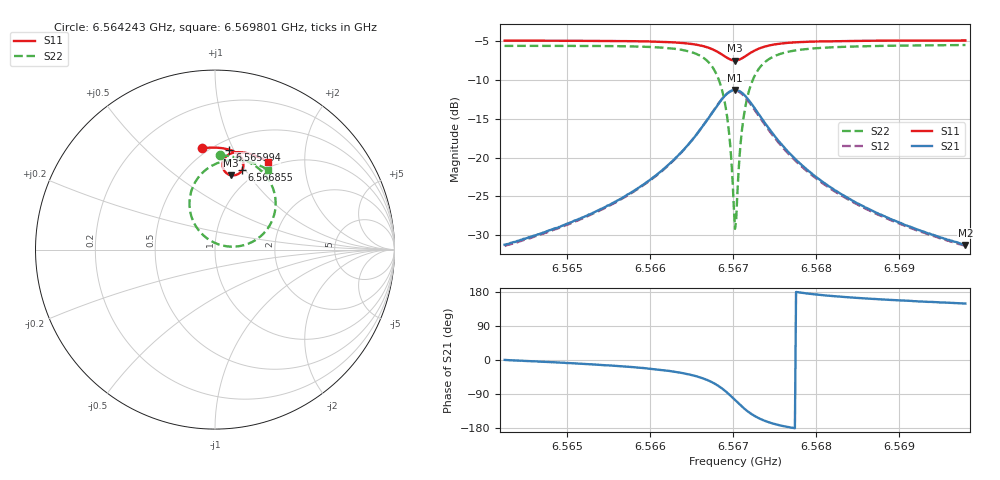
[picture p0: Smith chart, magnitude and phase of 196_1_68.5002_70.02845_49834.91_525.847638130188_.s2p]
#  HZ  S  RI  R  50.00
! Rohde & Schwarz Vector Network Analyzer
! Rohde-Schwarz,ZNB20-2Port,1311601062101988,3.16
! Created: UTC 3/20/2024, 4:57:18 PM
! freq[Hz]  re:S11  im:S11  re:S21  im:S21  re:S12  im:S12  re:S22  im:S22
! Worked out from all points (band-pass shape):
!   401 points, 6.564243 GHz to 6.569801 GHz, reference 50 ohm
!   highest |S21| = -11.25 dB at 6.567022 GHz (marker M1); lowest = -31.3 dB at 6.569801 GHz (marker M2)
!   |S21| within 3 dB of the highest: 6.566743 GHz to 6.567301 GHz (557.6 kHz wide, 0.00849 % of centre)
!   lowest |S11| = -7.5 dB at 6.567022 GHz (marker M3), VSWR 2.47, Z = 40.9 + j41.3 ohm
!   |S11| at or under -10 dB: nowhere
!   |S22| runs from -29.2 to -5.5 dB; largest |S21 - S12| = 0.013
!   S11 on the Smith chart (normalised r, x): 6.564243 GHz: 0.46, +0.77; 6.565994 GHz: 0.59, +0.96; 6.566855 GHz: 0.85, +0.96; 6.569801 GHz: 0.92, +1.33
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6.5642429e9  -0.0713 0.5648  0.0274 0.00014  0.0269 -0.000374  0.0287 0.5259
6.5651739e9  0.00451 0.568  0.0404 -0.00715  0.0396 -0.00762  0.116 0.5135
6.5659938e9  0.08 0.5565  0.066 -0.0279  0.0651 -0.0286  0.2192 0.4697
6.566105e9  0.0915 0.5527  0.0722 -0.0344  0.0709 -0.0353  0.2377 0.4566
6.5664107e9  0.1263 0.5339  0.0928 -0.066  0.0912 -0.0673  0.2964 0.3941
6.5666191e9  0.1504 0.506  0.1059 -0.1144  0.1036 -0.1167  0.3343 0.3003
6.5667581e9  0.1586 0.4728  0.099 -0.1727  0.0946 -0.1758  0.3282 0.1893
6.5668553e9  0.1502 0.442  0.0669 -0.2256  0.0594 -0.2283  0.2713 0.0904
6.5669387e9  0.1255 0.4191  0.00765 -0.2623  -0.00308 -0.2624  0.1627 0.0252
6.5669665e9  0.1137 0.4148  -0.0183 -0.2679  -0.0297 -0.2663  0.1156 0.017
6.5670082e9  0.0942 0.4135  -0.0598 -0.2669  -0.0712 -0.262  0.0418 0.0227
6.5670221e9  0.0877 0.4145  -0.0736 -0.2637  -0.0848 -0.258  0.018 0.0297
6.567036e9  0.0814 0.4163  -0.087 -0.2592  -0.0977 -0.2525  -0.00504 0.0391
6.5670499e9  0.0753 0.4187  -0.0997 -0.2536  -0.1101 -0.2459  -0.0267 0.051
6.5670916e9  0.0596 0.4298  -0.1332 -0.23  -0.1412 -0.22  -0.0817 0.0968
6.5671332e9  0.0488 0.4445  -0.1571 -0.2001  -0.1625 -0.1891  -0.1187 0.1523
6.5671888e9  0.0424 0.4656  -0.1736 -0.1582  -0.1759 -0.1474  -0.1406 0.2275
6.5672583e9  0.0445 0.4893  -0.1765 -0.1118  -0.1757 -0.1027  -0.1365 0.3082
6.5675084e9  0.0827 0.5329  -0.134 -0.025  -0.131 -0.0211  -0.0396 0.4534
6.5679531e9  0.1433 0.5429  -0.0783 0.00823  -0.0763 0.00948  0.0889 0.4988
6.5688841e9  0.2289 0.5214  -0.0378 0.0147  -0.0369 0.015  0.2189 0.4802
6.5698013e9  0.296 0.4883  -0.0234 0.0141  -0.0229 0.0142  0.2978 0.4429
